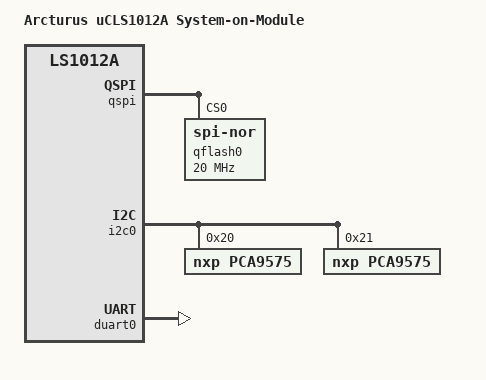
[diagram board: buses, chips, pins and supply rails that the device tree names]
// SPDX-License-Identifier: GPL-2.0+ OR X11
/*
 * uCLS1012A System on Module common device tree
 *
 * Copyright 2022-2024 Arcturus Networks, Inc.
 *
 */

/dts-v1/;
#include <dt-bindings/gpio/gpio.h>
#include "fsl-ls1012a.dtsi"

/ {
	model = "Arcturus uCLS1012A System-on-Module";

	aliases {
		spi0 = &qspi;
	};

	chosen {
		stdout-path = &duart0;
	};
};

&qspi {
	bus-num = <0>;
	status = "okay";
	u-boot,dm-pre-reloc;
	reg = <0x0 0x1550000 0x0 0x10000>,
	      <0x0 0x40000000 0x0 0x8000000>;
	reg-names = "QuadSPI", "QuadSPI-memory";

	qflash0: spi_flash@0 {
		#address-cells = <1>;
		#size-cells = <1>;
		u-boot,dm-pre-reloc;
		compatible = "jedec,spi-nor";
		reg = <0>;      /* chip select */
		spi-max-frequency = <20000000>;
		m25p,fast-read;
	};
};

&i2c0 {
	status = "okay";

	gpio2: pca9575@20 {
		compatible = "nxp,pca9575";
		label = "PCA9575";
		reg =<0x20>;
		gpio-controller;
		#gpio-cells = <2>;
	};

	gpio3: pca9575@21 {
		compatible = "nxp,pca9575";
		label = "PCA9575";
		reg =<0x21>;
		gpio-controller;
		#gpio-cells = <2>;
	};
};

&duart0 {
	status = "okay";
};
